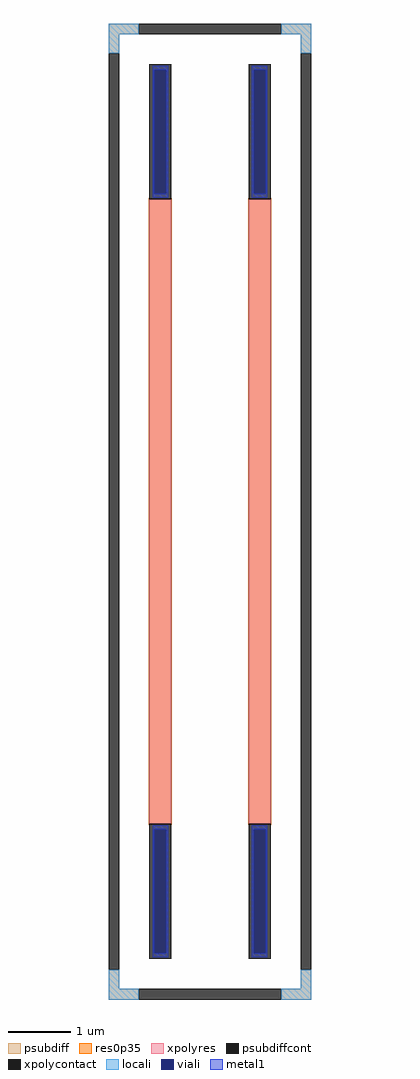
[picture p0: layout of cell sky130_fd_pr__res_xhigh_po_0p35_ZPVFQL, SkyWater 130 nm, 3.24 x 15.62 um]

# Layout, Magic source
magic
tech sky130A
magscale 1 2
<< psubdiff >>
rect -324 1528 -228 1562
rect 228 1528 324 1562
rect -324 1466 -290 1528
rect 290 1466 324 1528
rect -324 -1528 -290 -1466
rect 290 -1528 324 -1466
rect -324 -1562 -228 -1528
rect 228 -1562 324 -1528
<< psubdiffcont >>
rect -228 1528 228 1562
rect -324 -1466 -290 1466
rect 290 -1466 324 1466
rect -228 -1562 228 -1528
<< xpolycontact >>
rect -194 1000 -124 1432
rect -194 -1432 -124 -1000
rect 124 1000 194 1432
rect 124 -1432 194 -1000
<< xpolyres >>
rect -194 -1000 -124 1000
rect 124 -1000 194 1000
<< locali >>
rect -324 1528 -228 1562
rect 228 1528 324 1562
rect -324 1466 -290 1528
rect 290 1466 324 1528
rect -324 -1528 -290 -1466
rect 290 -1528 324 -1466
rect -324 -1562 -228 -1528
rect 228 -1562 324 -1528
<< viali >>
rect -178 1017 -140 1414
rect 140 1017 178 1414
rect -178 -1414 -140 -1017
rect 140 -1414 178 -1017
<< metal1 >>
rect -184 1414 -134 1426
rect -184 1017 -178 1414
rect -140 1017 -134 1414
rect -184 1005 -134 1017
rect 134 1414 184 1426
rect 134 1017 140 1414
rect 178 1017 184 1414
rect 134 1005 184 1017
rect -184 -1017 -134 -1005
rect -184 -1414 -178 -1017
rect -140 -1414 -134 -1017
rect -184 -1426 -134 -1414
rect 134 -1017 184 -1005
rect 134 -1414 140 -1017
rect 178 -1414 184 -1017
rect 134 -1426 184 -1414
<< res0p35 >>
rect -196 -1002 -122 1002
rect 122 -1002 196 1002
<< properties >>
string FIXED_BBOX -307 -1545 307 1545
string gencell sky130_fd_pr__res_xhigh_po_0p35
string library sky130
string parameters w 0.350 l 10 m 1 nx 2 wmin 0.350 lmin 0.50 rho 2000 val 58.218k dummy 0 dw 0.0 term 188.2 sterm 0.0 caplen 0 wmax 0.350 guard 1 glc 1 grc 1 gtc 1 gbc 1 compatible {sky130_fd_pr__res_xhigh_po_0p35  sky130_fd_pr__res_xhigh_po_0p69 sky130_fd_pr__res_xhigh_po_1p41  sky130_fd_pr__res_xhigh_po_2p85 sky130_fd_pr__res_xhigh_po_5p73} full_metal 1 n_guard 0 hv_guard 0 vias 1 viagb 0 viagt 0 viagl 0 viagr 0
<< end >>
